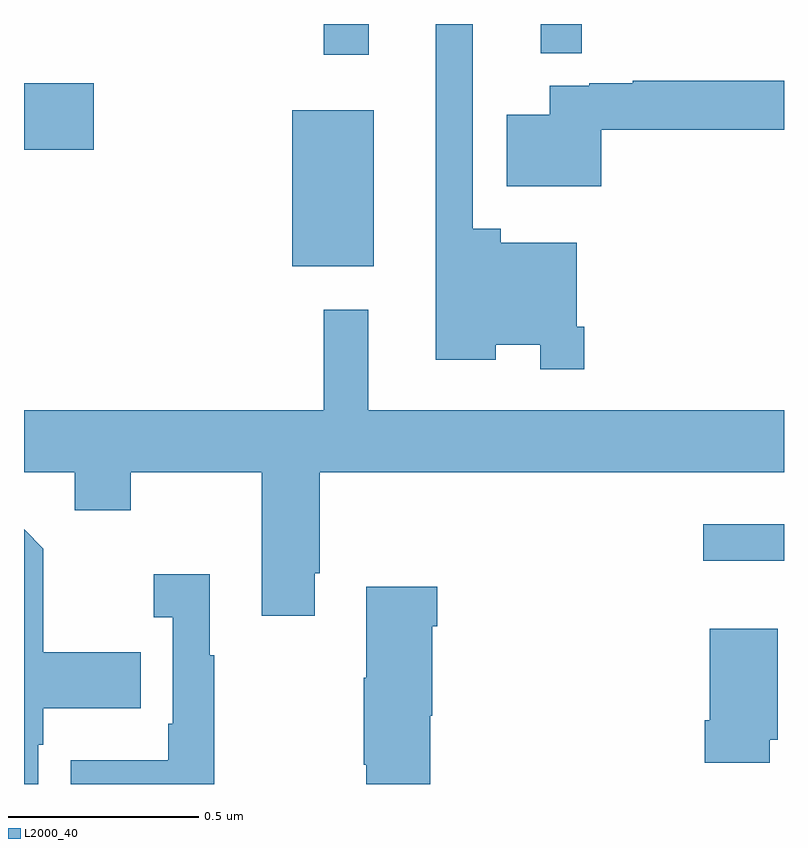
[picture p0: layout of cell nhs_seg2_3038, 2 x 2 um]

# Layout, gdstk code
import gdstk
lib = gdstk.Library(unit=1e-6, precision=1e-09)
def R(c, l, rs):  # rectangles x0, y0, x1, y1
    for r in rs: c.add(gdstk.rectangle(r[:2], r[2:], *l))
def P(c, l, *ps):  # polygons
    for p in ps: c.add(gdstk.Polygon(p, *l))
L2000_40 = (2000, 40)

nhs_seg2_3038 = lib.new_cell('nhs_seg2_3038')
R(nhs_seg2_3038, L2000_40, [(149.787,663.387,150,663.484), (148.706,664.163,148.921,664.573), (148,664.469,148.183,664.644), (148.789,664.719,148.907,664.8), (149.36,664.723,149.468,664.8)])
P(nhs_seg2_3038, L2000_40, [(149.474,664.003),(149.454,664.003),(149.454,664.225),(149.255,664.225),(149.255,664.261),(149.181,664.261),(149.181,664.8),(149.084,664.8),(149.084,663.917),(149.242,663.917),(149.242,663.956),(149.358,663.956),(149.358,663.891),(149.474,663.891)],
  [(149.519,664.522),(150,664.522),(150,664.651),(149.602,664.651),(149.602,664.644),(149.488,664.644),(149.488,664.638),(149.384,664.638),(149.384,664.561),(149.27,664.561),(149.27,664.373),(149.519,664.373)],
  [(148.765,663.355),(148.778,663.355),(148.778,663.62),(150,663.62),(150,663.784),(148.906,663.784),(148.906,664.048),(148.789,664.048),(148.789,663.784),(148,663.784),(148,663.62),(148.133,663.62),(148.133,663.521),(148.281,663.521),(148.281,663.62),(148.625,663.62),(148.625,663.243),(148.765,663.243)],
  [(148.038,662.903),(148.051,662.903),(148.051,662.999),(148.307,662.999),(148.307,663.147),(148.051,663.147),(148.051,663.419),(148,663.47),(148,662.8),(148.038,662.8)],
  [(148.501,663.139),(148.489,663.139),(148.489,663.352),(148.341,663.352),(148.341,663.239),(148.392,663.239),(148.392,662.959),(148.38,662.959),(148.38,662.863),(148.123,662.863),(148.123,662.8),(148.501,662.8)],
  [(149.069,662.979),(149.074,662.979),(149.074,663.215),(149.087,663.215),(149.087,663.319),(148.901,663.319),(148.901,663.079),(148.894,663.079),(148.894,662.851),(148.901,662.851),(148.901,662.8),(149.069,662.8)],
  [(149.962,662.916),(149.983,662.916),(149.983,663.208),(149.804,663.208),(149.804,662.968),(149.792,662.968),(149.792,662.856),(149.962,662.856)])

lib.write_gds('nhs_seg2_3038.gds')
